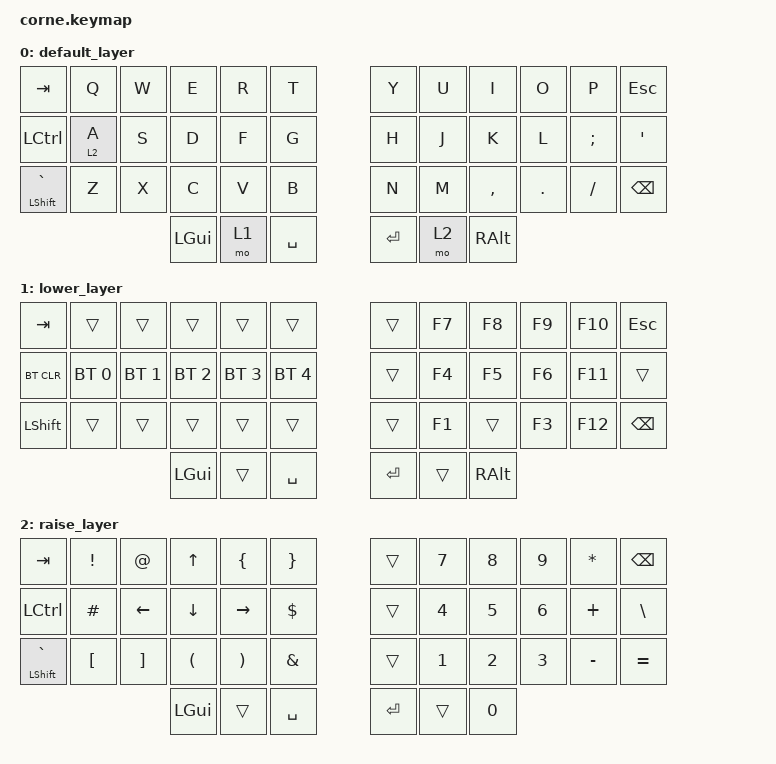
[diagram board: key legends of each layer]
/*
 * Copyright (c) 2020 The ZMK Contributors
 *
 * SPDX-License-Identifier: MIT
 */

#include <behaviors.dtsi>
#include <dt-bindings/zmk/keys.h>
#include <dt-bindings/zmk/bt.h>

/ {
        keymap {
                compatible = "zmk,keymap";

                default_layer {
// -------------------------------------------------------------------------------------------
// |  TAB   |  Q  |  W  |  E  |  R  |  T  |   |  Y  |  U   |  I  |  O  |  P  | ESC  |
// | CTRL   |  A  |  S  |  D  |  F  |  G  |   |  H  |  J   |  K  |  L  |  ;  |  '   |
// | SHFT,~ |  Z  |  X  |  C  |  V  |  B  |   |  N  |  M   |  ,  |  .  |  /  | BSPC |
//                    | GUI | LWR | SPC |   | ENT | RSE  | ALT |
                        bindings = <
   &kp TAB         &kp Q   &kp W &kp E &kp R &kp T   &kp Y &kp U  &kp I     &kp O   &kp P    &kp ESC
   &kp LCTRL       &lt 2 A &kp S &kp D &kp F &kp G   &kp H &kp J  &kp K     &kp L   &kp SEMI &kp SQT
   &mt LSHFT GRAVE &kp Z   &kp X &kp C &kp V &kp B   &kp N &kp M  &kp COMMA &kp DOT &kp FSLH &kp BSPC
                           &kp LGUI &mo 1 &kp SPACE   &kp RET &mo 2 &kp RALT
                        >;
                };
                lower_layer {
// -----------------------------------------------------------------------------------------
// |  TAB |     |     |     |     |     |   |     | F7  | F8  | F9  | F10 | ESC  |
// | BTCLR| BT1 | BT2 | BT3 | BT4 | BT5 |   |     | F4  | F5  | F6  | F11 |      |
// | SHFT |     |     |     |     |     |   |     | F1  | F2  | F3  | F12 | BSPC |
//                    | GUI |     | SPC |   | ENT |     | ALT |
                        bindings = <
   &kp TAB    &trans       &trans       &trans       &trans       &trans       &trans  &kp F7 &kp F8 &kp F9  &kp F10 &kp ESC
   &bt BT_CLR &bt BT_SEL 0 &bt BT_SEL 1 &bt BT_SEL 2 &bt BT_SEL 3 &bt BT_SEL 4 &trans  &kp F4 &kp F5 &kp F6  &kp F11 &trans
   &kp LSHFT  &trans       &trans       &trans       &trans       &trans       &trans  &kp F1 &trans &kp F3  &kp F12 &kp BSPC
                                    &kp LGUI     &trans       &kp SPACE        &kp RET &trans &kp RALT
                        >;
                };

                raise_layer {
// -----------------------------------------------------------------------------------------
// |  TAB   |  !  |  @  |  UP |  {  |  }  |   |     |  7  |  8  |  9  |  *  | BSPC |
// | CTRL   |  #  | LFT | DWN | RGT |  $  |   |     |  4  |  5  |  6  |  +  |  \   |
// | SHFT,` |  [  |  ]  |  (  |  )  |  &  |   |     |  1  |  2  |  3  |  -  |  =   |
//                    | GUI |     | SPC |   | ENT |     |  0  |
                        bindings = <
   &kp  TAB        &kp EXCL &kp AT   &kp UP   &kp LBRC  &kp RBRC    &trans    &kp N7 &kp N8    &kp N9 &kp ASTRK    &kp BSPC
   &kp LCTRL       &kp HASH &kp LEFT &kp DOWN &kp RIGHT &kp DLLR    &trans    &kp N4 &kp N5    &kp N6 &kp PLUS     &kp BSLH
   &mt LSHFT GRAVE &kp LBKT &kp RBKT &kp LPAR &kp RPAR  &kp AMPS    &trans    &kp N1 &kp N2 &kp N3 &kp MINUS &kp EQUAL
                               &kp LGUI &trans    &kp SPACE   &kp RET  &trans &kp N0
                        >;
                };
        };
};
